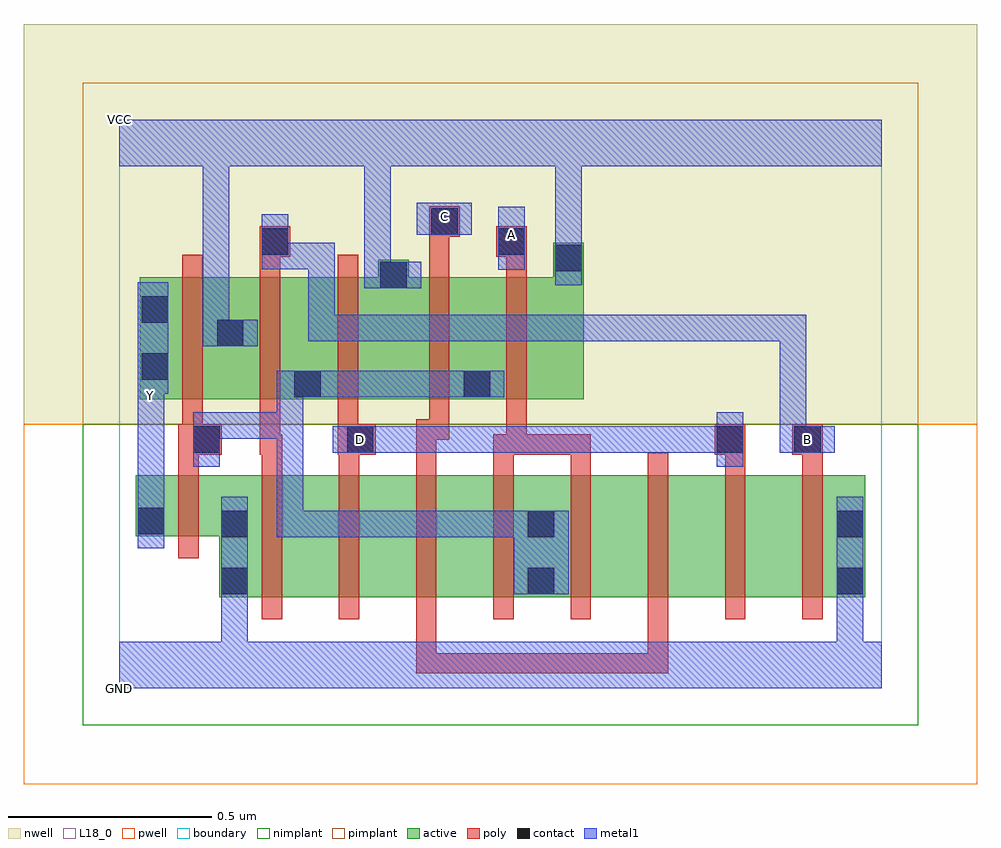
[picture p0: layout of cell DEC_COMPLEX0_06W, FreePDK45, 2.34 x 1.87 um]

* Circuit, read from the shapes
.subckt DEC_COMPLEX0_06W A B C D GND VCC Y
M1 GND n1 Y VSUBS nfet w=0.15u l=0.05u
M2 n2 B GND VSUBS nfet w=0.3u l=0.05u
M3 n3 D n2 VSUBS nfet w=0.3u l=0.05u
M4 n4 C n3 VSUBS nfet w=0.3u l=0.05u
M5 n1 A n4 VSUBS nfet w=0.3u l=0.05u
M6 n5 A n1 VSUBS nfet w=0.3u l=0.05u
M7 n6 C n5 VSUBS nfet w=0.3u l=0.05u
M8 n7 D n6 VSUBS nfet w=0.3u l=0.05u
M9 GND B n7 VSUBS nfet w=0.3u l=0.05u
M10 VCC n1 Y n8 pfet w=0.3u l=0.05u
M11 n1 B VCC n8 pfet w=0.3u l=0.05u
M12 VCC D n1 n8 pfet w=0.3u l=0.05u
M13 n1 C VCC n8 pfet w=0.3u l=0.05u
M14 VCC A n1 n8 pfet w=0.3u l=0.05u
.ends

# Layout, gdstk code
import gdstk
lib = gdstk.Library(unit=1e-6, precision=1e-09)
def R(c, l, rs):  # rectangles x0, y0, x1, y1
    for r in rs: c.add(gdstk.rectangle(r[:2], r[2:], *l))
def A(c, l, x, y, w, h, nx, ny, dx, dy):  # array of equal rectangles
    R(c, l, [(x+i*dx, y+j*dy, x+i*dx+w, y+j*dy+h) for i in range(nx) for j in range(ny)])
active = (1, 0)
pwell = (2, 0)
nwell = (3, 0)
nimplant = (4, 0)
pimplant = (5, 0)
poly = (9, 0)
contact = (10, 0)
metal1 = (11, 0)
L18_0 = (18, 0)
boundary = (235, 0)

dec_complex0_06w = lib.new_cell('DEC_COMPLEX0_06W')
R(dec_complex0_06w, active, [(0.245,0.225,0.47,0.525), (0.245,0.225,0.32,0.485), (0.47,0.225,0.66,0.525), (0.66,0.225,0.85,0.525), (0.85,0.225,1.075,0.525), (1,0.225,1.075,0.525), (1,0.225,1.23,0.525), (1.23,0.225,1.42,0.525), (1.42,0.225,1.61,0.525), (1.61,0.225,1.835,0.525), (1.76,0.225,1.835,0.525), (0.04,0.375,0.32,0.525), (0.04,0.375,0.115,0.525), (0.05,0.712,0.125,1.012), (0.05,0.712,0.31,1.012), (0.235,0.712,0.31,1.005), (0.235,0.712,0.5,1.012), (0.425,0.712,0.712,1.012), (0.425,0.712,0.5,1.005), (0.637,0.712,0.917,1.012), (0.842,0.712,1.142,1.012), (0.842,0.712,0.917,0.94), (1.067,0.712,1.142,1.097), (0.637,0.832,0.712,1.055)])
R(dec_complex0_06w, pwell, [(-0.235,-0.235,2.11,0.65)])
R(dec_complex0_06w, nwell, [(-0.235,0.65,2.11,1.635)])
R(dec_complex0_06w, nimplant, [(-0.09,-0.09,1.965,0.65)])
R(dec_complex0_06w, pimplant, [(-0.09,0.65,1.965,1.49)])
A(dec_complex0_06w, poly, 0.35, 0.17, 0.05, 0.41, 8, 1, 0.19, 0)
R(dec_complex0_06w, poly, [(0.73,0.037,0.78,0.22), (0.73,0.037,0.78,0.087), (0.73,0.037,0.78,0.087), (0.73,0.037,0.78,0.087), (0.73,0.037,1.002,0.087), (0.952,0.037,1.002,0.087), (0.952,0.037,1.002,0.087), (0.952,0.037,1.002,0.087), (0.952,0.037,1.217,0.087), (1.167,0.037,1.217,0.087), (1.167,0.037,1.35,0.087), (1.3,0.037,1.35,0.22), (1.3,0.037,1.35,0.087), (1.3,0.037,1.35,0.087), (1.3,0.037,1.35,0.087), (0.145,0.32,0.195,0.58), (0.145,0.53,0.195,0.625), (0.35,0.53,0.4,0.625), (0.54,0.53,0.59,0.625), (0.73,0.53,0.78,0.662), (0.92,0.53,0.97,0.625), (1.11,0.53,1.16,0.625), (1.49,0.53,1.54,0.625), (1.68,0.53,1.73,0.625), (0.145,0.575,0.252,0.65), (0.345,0.575,0.395,0.707), (0.345,0.575,0.4,0.625), (0.537,0.575,0.63,0.65), (0.92,0.575,1.002,0.625), (0.952,0.575,1.16,0.625), (0.952,0.575,1.002,0.707), (1.11,0.575,1.16,0.625), (1.11,0.575,1.16,0.625), (1.11,0.575,1.16,0.625), (1.465,0.575,1.54,0.65), (1.655,0.575,1.73,0.65), (0.155,0.6,0.205,0.707), (0.537,0.6,0.587,0.707), (0.73,0.612,0.812,0.662), (0.762,0.612,0.812,0.707), (0.155,0.657,0.205,1.067), (0.345,0.657,0.395,1.067), (0.537,0.657,0.587,1.067), (0.762,0.657,0.812,1.067), (0.952,0.657,1.002,1.067), (0.345,1.017,0.395,1.112), (0.762,1.017,0.812,1.162), (0.952,1.017,1.002,1.112), (0.345,1.062,0.42,1.137), (0.927,1.062,1.002,1.137), (0.762,1.112,0.837,1.187)])
R(dec_complex0_06w, contact, [(0.25,0.232,0.315,0.297), (1.005,0.232,1.07,0.297), (1.765,0.232,1.83,0.297), (0.25,0.372,0.315,0.437), (1.005,0.372,1.07,0.437), (1.765,0.372,1.83,0.437), (0.045,0.38,0.11,0.445), (0.182,0.58,0.247,0.645), (0.56,0.58,0.625,0.645), (1.47,0.58,1.535,0.645), (1.66,0.58,1.725,0.645), (0.43,0.717,0.495,0.782), (0.847,0.717,0.912,0.782), (0.055,0.76,0.12,0.825), (0.24,0.842,0.305,0.907), (0.055,0.9,0.12,0.965), (0.642,0.985,0.707,1.05), (1.072,1.027,1.137,1.092), (0.35,1.067,0.415,1.132), (0.932,1.067,0.997,1.132), (0.767,1.117,0.832,1.182)])
R(dec_complex0_06w, metal1, [(0,0,1.875,0.115), (0.25,0.05,0.315,0.262), (0.25,0.05,0.315,0.115), (0.25,0.05,0.315,0.115), (0.25,0.05,0.315,0.115), (0.25,0.05,0.315,0.115), (1.765,0.05,1.83,0.262), (1.765,0.05,1.83,0.115), (1.765,0.05,1.83,0.115), (1.765,0.05,1.83,0.115), (1.765,0.05,1.83,0.115), (0.25,0.197,0.315,0.472), (1.765,0.197,1.83,0.472), (0.97,0.232,1.105,0.437), (0.045,0.345,0.11,0.48), (0.387,0.372,0.452,0.437), (0.387,0.372,0.66,0.437), (0.387,0.372,0.452,0.68), (0.595,0.372,0.66,0.437), (0.595,0.372,0.667,0.437), (0.602,0.372,0.667,0.437), (0.602,0.372,0.86,0.437), (0.795,0.372,0.86,0.437), (0.795,0.372,0.86,0.437), (0.795,0.372,0.86,0.437), (0.795,0.372,1.035,0.437), (0.97,0.372,1.035,0.437), (0.97,0.372,1.035,0.437), (0.045,0.415,0.11,0.72), (0.182,0.545,0.247,0.68), (1.47,0.545,1.535,0.68), (0.525,0.58,0.66,0.645), (0.595,0.58,0.722,0.645), (0.657,0.58,0.722,0.645), (0.657,0.58,0.86,0.645), (0.795,0.58,0.86,0.645), (0.795,0.58,0.86,0.645), (0.795,0.58,0.86,0.645), (0.795,0.58,1.122,0.645), (1.057,0.58,1.122,0.645), (1.057,0.58,1.26,0.645), (1.195,0.58,1.26,0.645), (1.195,0.58,1.26,0.645), (1.195,0.58,1.26,0.645), (1.195,0.58,1.397,0.645), (1.332,0.58,1.397,0.645), (1.332,0.58,1.397,0.645), (1.332,0.58,1.397,0.645), (1.332,0.58,1.535,0.645), (1.47,0.58,1.535,0.645), (1.47,0.58,1.535,0.645), (1.625,0.58,1.69,0.645), (1.625,0.58,1.69,0.645), (1.625,0.58,1.76,0.645), (1.625,0.58,1.69,0.92), (0.182,0.615,0.247,0.68), (0.182,0.615,0.247,0.68), (0.182,0.615,0.422,0.68), (0.357,0.615,0.422,0.68), (0.357,0.615,0.452,0.68), (0.387,0.615,0.452,0.68), (0.387,0.615,0.452,0.782), (0.045,0.655,0.11,0.79), (0.387,0.717,0.53,0.782), (0.465,0.717,0.56,0.782), (0.495,0.717,0.56,0.782), (0.495,0.717,0.667,0.782), (0.602,0.717,0.667,0.782), (0.602,0.717,0.797,0.782), (0.732,0.717,0.797,0.782), (0.732,0.717,0.877,0.782), (0.812,0.717,0.947,0.782), (0.045,0.725,0.11,0.79), (0.045,0.725,0.12,1), (0.205,0.842,0.34,0.907), (0.205,0.842,0.27,1.35), (0.465,0.855,0.53,0.92), (0.465,0.855,0.56,0.92), (0.465,0.855,0.53,1.097), (0.495,0.855,0.56,0.92), (0.495,0.855,0.722,0.92), (0.657,0.855,0.722,0.92), (0.657,0.855,0.86,0.92), (0.795,0.855,0.86,0.92), (0.795,0.855,0.86,0.92), (0.795,0.855,0.86,0.92), (0.795,0.855,1.107,0.92), (1.042,0.855,1.107,0.92), (1.042,0.855,1.107,0.92), (1.042,0.855,1.107,0.92), (1.042,0.855,1.107,0.92), (1.042,0.855,1.107,0.92), (1.042,0.855,1.26,0.92), (1.195,0.855,1.26,0.92), (1.195,0.855,1.397,0.92), (1.332,0.855,1.397,0.92), (1.332,0.855,1.397,0.92), (1.332,0.855,1.397,0.92), (1.332,0.855,1.535,0.92), (1.47,0.855,1.535,0.92), (1.47,0.855,1.535,0.92), (1.47,0.855,1.535,0.92), (1.47,0.855,1.69,0.92), (1.625,0.855,1.69,0.92), (0.602,0.985,0.667,1.35), (0.602,0.985,0.742,1.05), (1.072,0.992,1.137,1.127), (0.932,1.03,0.997,1.185), (0.35,1.032,0.415,1.167), (0.35,1.032,0.53,1.097), (0.465,1.032,0.53,1.097), (0.465,1.032,0.53,1.097), (0.465,1.032,0.53,1.097), (1.072,1.062,1.137,1.127), (1.072,1.062,1.137,1.127), (1.072,1.062,1.137,1.127), (1.072,1.062,1.137,1.127), (1.072,1.062,1.137,1.35), (0.732,1.117,0.867,1.195), (0,1.285,1.875,1.4), (0.205,1.285,0.27,1.35), (0.205,1.285,0.27,1.35), (0.205,1.285,0.27,1.35), (0.205,1.285,0.27,1.35), (0.602,1.285,0.667,1.35), (0.602,1.285,0.667,1.35), (0.602,1.285,0.667,1.35), (0.602,1.285,0.667,1.35)])
R(dec_complex0_06w, L18_0, [(0,0,1.875,0.115), (0.25,0.05,0.315,0.115), (0.25,0.05,0.315,0.115), (0.25,0.05,0.315,0.115), (0.25,0.05,0.315,0.115), (0.25,0.05,0.315,0.262), (1.765,0.05,1.83,0.115), (1.765,0.05,1.83,0.115), (1.765,0.05,1.83,0.115), (1.765,0.05,1.83,0.115), (1.765,0.05,1.83,0.262), (0.25,0.197,0.315,0.472), (1.765,0.197,1.83,0.472), (0.045,0.345,0.11,0.48), (0.045,0.415,0.11,0.72), (1.47,0.545,1.535,0.68), (0.525,0.58,0.66,0.645), (0.56,0.58,0.625,0.645), (0.595,0.58,0.722,0.645), (0.657,0.58,0.722,0.645), (0.657,0.58,0.86,0.645), (0.795,0.58,0.86,0.645), (0.795,0.58,0.86,0.645), (0.795,0.58,0.86,0.645), (0.795,0.58,1.122,0.645), (1.057,0.58,1.122,0.645), (1.057,0.58,1.26,0.645), (1.195,0.58,1.26,0.645), (1.195,0.58,1.26,0.645), (1.195,0.58,1.26,0.645), (1.195,0.58,1.397,0.645), (1.332,0.58,1.397,0.645), (1.332,0.58,1.397,0.645), (1.332,0.58,1.397,0.645), (1.332,0.58,1.535,0.645), (1.47,0.58,1.535,0.645), (1.47,0.58,1.535,0.645), (1.625,0.58,1.69,0.645), (1.625,0.58,1.69,0.645), (1.625,0.58,1.76,0.645), (1.625,0.58,1.69,0.92), (1.66,0.58,1.725,0.645), (0.045,0.655,0.11,0.79), (0.045,0.69,0.11,0.755), (0.045,0.725,0.12,1), (0.045,0.725,0.11,0.79), (0.205,0.842,0.34,0.907), (0.205,0.842,0.27,1.35), (0.465,0.855,0.53,0.92), (0.465,0.855,0.53,1.097), (0.465,0.855,0.56,0.92), (0.495,0.855,0.56,0.92), (0.495,0.855,0.722,0.92), (0.657,0.855,0.722,0.92), (0.657,0.855,0.86,0.92), (0.795,0.855,0.86,0.92), (0.795,0.855,0.86,0.92), (0.795,0.855,0.86,0.92), (0.795,0.855,1.107,0.92), (1.042,0.855,1.107,0.92), (1.042,0.855,1.107,0.92), (1.042,0.855,1.107,0.92), (1.042,0.855,1.107,0.92), (1.042,0.855,1.107,0.92), (1.042,0.855,1.26,0.92), (1.195,0.855,1.26,0.92), (1.195,0.855,1.397,0.92), (1.332,0.855,1.397,0.92), (1.332,0.855,1.397,0.92), (1.332,0.855,1.397,0.92), (1.332,0.855,1.535,0.92), (1.47,0.855,1.535,0.92), (1.47,0.855,1.535,0.92), (1.47,0.855,1.535,0.92), (1.47,0.855,1.69,0.92), (1.625,0.855,1.69,0.92), (0.602,0.985,0.742,1.05), (0.602,0.985,0.667,1.35), (1.072,0.992,1.137,1.127), (0.932,1.03,0.997,1.185), (0.35,1.032,0.415,1.167), (0.35,1.032,0.53,1.097), (0.465,1.032,0.53,1.097), (0.465,1.032,0.53,1.097), (0.465,1.032,0.53,1.097), (1.072,1.062,1.137,1.127), (1.072,1.062,1.137,1.127), (1.072,1.062,1.137,1.127), (1.072,1.062,1.137,1.127), (1.072,1.062,1.137,1.35), (0.932,1.085,0.997,1.15), (0.732,1.117,0.867,1.195), (0.767,1.13,0.832,1.195), (0,1.285,1.875,1.4), (0.205,1.285,0.27,1.35), (0.205,1.285,0.27,1.35), (0.205,1.285,0.27,1.35), (0.205,1.285,0.27,1.35), (0.602,1.285,0.667,1.35), (0.602,1.285,0.667,1.35), (0.602,1.285,0.667,1.35), (0.602,1.285,0.667,1.35)])
R(dec_complex0_06w, boundary, [(0,0,1.875,1.4)])
dec_complex0_06w.add(gdstk.Label('A', (0.965,1.117), layer=11, texttype=0))
dec_complex0_06w.add(gdstk.Label('B', (1.692,0.612), layer=11, texttype=0))
dec_complex0_06w.add(gdstk.Label('C', (0.8,1.162), layer=11, texttype=0))
dec_complex0_06w.add(gdstk.Label('D', (0.592,0.612), layer=11, texttype=0))
dec_complex0_06w.add(gdstk.Label('Y', (0.077,0.722), layer=11, texttype=0))
dec_complex0_06w.add(gdstk.Label('VCC', (0,1.4), layer=11, texttype=0))
dec_complex0_06w.add(gdstk.Label('GND', (0,0), layer=11, texttype=0))

lib.write_gds('DEC_COMPLEX0_06W.gds')
